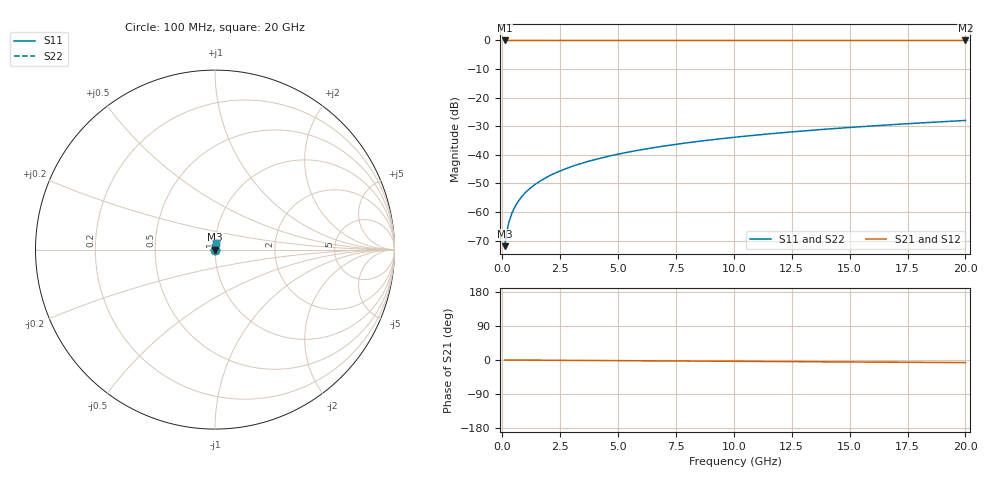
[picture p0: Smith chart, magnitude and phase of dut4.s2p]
! Touchstone file exported from HFSS 2026.1.0
!  File:  C:/ffzhzh/LocalFiles/Ansys_Project_Files/temp_train_TSV_4_1782957761_45748.aedt
!  Generated:  10:04:26 AM Jul  2, 2026
!  Design:  TSV
!  Project:  temp_train_TSV_4_1782957761_45748
! Variables:
!  h_bsmrdl = 2um
!  h_ox = 20um
!  h_rdl = 5um
!  h_sub = 57.04um
!  h_tmrdl = 5um
!  h_tsv = 57.04um
!  h_via = 3um
!  l_bsmrdl = 300um
!  l_sub = 419.22um
!  l_tmrdl = 200um
!  m_sub = 200um
!  pitch = 57.96um
!  r_tsv = 9.61um
!  s_tmrdl = 10um
!  w_bsmrdl = 18um
!  w_sub = 500um
!  w_tmrdl = 12um
!  x_tsv_center1 = 206um
!  x_tsv_center2 = 524um
!  x_tsv_center3 = 736um
!  x_tsv_center4 = 1054um
!  x_tsv_center5 = 1266um
!  x_tsv_center6 = 1584um
# GHz S MA R 50.000000
! Terminal data exported
! Port[1] = TSV1_1_T1
! Port[2] = TSV1_1_T2
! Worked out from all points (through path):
!   200 points, 100 MHz to 20 GHz, reference 50 ohm
!   highest |S21| = 0.00 dB at 100 MHz (marker M1); lowest = 0.0 dB at 20 GHz (marker M2)
!   lowest |S11| = -71.9 dB at 100 MHz (marker M3), VSWR 1.00, Z = 50 + j0.0231 ohm
!   |S11| at or under -10 dB: start of sweep to end of sweep
!   |S22| runs from -71.9 to -28.0 dB; largest |S21 - S12| = 3e-15
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0.1  0.000253 65.9  0.9999 -0.0  0.9999 -0.0  0.000253 65.9
! Gamma 0 0 0 0
! Port Impedance 50 0 50 0
0.2  0.0004735 76.3  0.9999 -0.1  0.9999 -0.1  0.0004735 76.3
0.3  0.0006972 79.7  0.9999 -0.1  0.9999 -0.1  0.0006972 79.7
0.4  0.0009188 81.2  0.9999 -0.1  0.9999 -0.1  0.0009188 81.2
0.5  0.001137 82.0  0.9998 -0.2  0.9998 -0.2  0.001137 82.0
0.6  0.001352 82.5  0.9998 -0.2  0.9998 -0.2  0.001352 82.5
0.7  0.001563 82.8  0.9998 -0.2  0.9998 -0.2  0.001563 82.8
0.8  0.001773 83.1  0.9998 -0.3  0.9998 -0.3  0.001773 83.1
1  0.002186 83.6  0.9998 -0.4  0.9998 -0.4  0.002186 83.6
1.4  0.003002 84.3  0.9997 -0.5  0.9997 -0.5  0.003002 84.3
1.7  0.003612 84.7  0.9997 -0.6  0.9997 -0.6  0.003612 84.7
2  0.00422 85.0  0.9997 -0.7  0.9997 -0.7  0.00422 85.0
2.7  0.00564 85.4  0.9996 -0.9  0.9996 -0.9  0.00564 85.4
3.5  0.007258 85.6  0.9996 -1.2  0.9996 -1.2  0.007258 85.6
4.2  0.00867 85.6  0.9995 -1.5  0.9995 -1.5  0.00867 85.6
5  0.01028 85.6  0.9995 -1.7  0.9995 -1.7  0.01028 85.6
6.8  0.01388 85.3  0.9993 -2.3  0.9993 -2.3  0.01388 85.3
8.3  0.01686 85.0  0.9992 -2.9  0.9992 -2.9  0.01686 85.0
10.1  0.02043 84.6  0.9991 -3.5  0.9991 -3.5  0.02043 84.6
13.4  0.02696 83.7  0.9988 -4.6  0.9988 -4.6  0.02696 83.7
16.7  0.03345 82.8  0.9986 -5.7  0.9986 -5.7  0.03345 82.8
20  0.0399 81.8  0.9982 -6.8  0.9982 -6.8  0.0399 81.8
